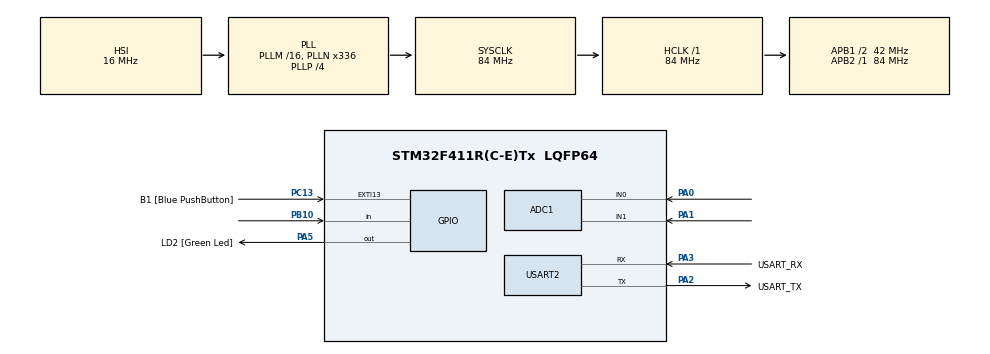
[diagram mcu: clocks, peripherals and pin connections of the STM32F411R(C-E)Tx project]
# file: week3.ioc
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ADC1.Channel-0\#ChannelRegularConversion=ADC_CHANNEL_0
ADC1.NbrOfConversionFlag=1
ADC1.Rank-0\#ChannelRegularConversion=1
ADC1.SamplingTime-0\#ChannelRegularConversion=ADC_SAMPLETIME_3CYCLES
ADC1.master=1
Mcu.Family=STM32F4
Mcu.Name=STM32F411R(C-E)Tx
Mcu.Package=LQFP64
NVIC.PriorityGroup=NVIC_PRIORITYGROUP_0
PA0-WKUP.Signal=ADCx_IN0
PA1.Signal=ADCx_IN1
PA13.GPIO_Label=TMS
PA13.Mode=Serial_Wire
PA13.Signal=SYS_JTMS-SWDIO
PA14.GPIO_Label=TCK
PA14.Mode=Serial_Wire
PA14.Signal=SYS_JTCK-SWCLK
PA2.GPIO_Label=USART_TX
PA2.Mode=Asynchronous
PA2.Signal=USART2_TX
PA3.GPIO_Label=USART_RX
PA3.Mode=Asynchronous
PA3.Signal=USART2_RX
PA5.GPIO_Label=LD2 [Green Led]
PA5.Signal=GPIO_Output
PB10.Signal=GPIO_Input
PB3.GPIO_Label=SWO
PB3.Signal=SYS_JTDO-SWO
PC13-ANTI_TAMP.GPIO_Label=B1 [Blue PushButton]
PC13-ANTI_TAMP.GPIO_ModeDefaultEXTI=GPIO_MODE_IT_FALLING
PC13-ANTI_TAMP.Signal=GPXTI13
PC14-OSC32_IN.Mode=LSE-External-Oscillator
PC14-OSC32_IN.Signal=RCC_OSC32_IN
PC15-OSC32_OUT.Mode=LSE-External-Oscillator
PC15-OSC32_OUT.Signal=RCC_OSC32_OUT
PH0\ -\ OSC_IN.Mode=HSE-External-Clock-Source
PH0\ -\ OSC_IN.Signal=RCC_OSC_IN
PH1\ -\ OSC_OUT.Mode=HSE-External-Clock-Source
PH1\ -\ OSC_OUT.Signal=RCC_OSC_OUT
ProjectManager.HeapSize=0x200
ProjectManager.StackSize=0x400
ProjectManager.TargetToolchain=STM32CubeIDE
RCC.48MHZClocksFreq_Value=84000000
RCC.AHBFreq_Value=84000000
RCC.APB1CLKDivider=RCC_HCLK_DIV2
RCC.APB1Freq_Value=42000000
RCC.APB1TimFreq_Value=84000000
RCC.APB2Freq_Value=84000000
RCC.APB2TimFreq_Value=84000000
RCC.CortexFreq_Value=84000000
RCC.FLatency-AdvancedSettings=FLASH_LATENCY_2
RCC.HCLKFreq_Value=84000000
RCC.HSE_VALUE=8000000
RCC.HSI_VALUE=16000000
RCC.PLLN=336
RCC.PLLP=RCC_PLLP_DIV4
RCC.SYSCLKFreq_VALUE=84000000
RCC.SYSCLKSource=RCC_SYSCLKSOURCE_PLLCLK
RCC.VCOOutputFreq_Value=336000000
SH.ADCx_IN0.0=ADC1_IN0,IN0
SH.ADCx_IN1.0=ADC1_IN1,IN1
USART2.VirtualMode=VM_ASYNC
VP_ADC1_TempSens_Input.Mode=IN-TempSens
board=NUCLEO-F411RE

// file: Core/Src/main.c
/* USER CODE BEGIN Header */
/**
  ******************************************************************************
  * @file           : main.c
  * @brief          : Main program body
  ******************************************************************************
  * @attention
  *
  * <h2><center>&copy; Copyright (c) 2021 STMicroelectronics.
  * All rights reserved.</center></h2>
  *
  * This software component is licensed by ST under BSD 3-Clause license,
  * the "License"; You may not use this file except in compliance with the
  * License. You may obtain a copy of the License at:
  *                        opensource.org/licenses/BSD-3-Clause
  *
  ******************************************************************************
  */
/* USER CODE END Header */
#include "main.h"

ADC_HandleTypeDef hadc1;

UART_HandleTypeDef huart2;

/* USER CODE BEGIN PV */

typedef struct
{
	ADC_ChannelConfTypeDef Config;
	uint32_t Data;
} ADCStructure;

ADCStructure ADCChannel[2] ={0};

/* USER CODE END PV */

void SystemClock_Config(void);
static void MX_GPIO_Init(void);
static void MX_USART2_UART_Init(void);
static void MX_ADC1_Init(void);
/* USER CODE BEGIN PFP */
void ADCPollingMethodInit(); //init config of 3 adc
void ADCPollingMethodUpdate(); //readADC from 3 source
int ADCMode = 0;
float GetData =0;
float ADCOutputConverted = 0;
float Vsense = 0;
uint32_t ButtonTimeStamp = 0;
GPIO_PinState SwitchState[2];
/* USER CODE END PFP */

int main(void)
{

  /* MCU Configuration--------------------------------------------------------*/

  /* Reset of all peripherals, Initializes the Flash interface and the Systick. */
  HAL_Init();

  /* Configure the system clock */
  SystemClock_Config();

  /* Initialize all configured peripherals */
  MX_GPIO_Init();
  MX_USART2_UART_Init();
  MX_ADC1_Init();
  /* USER CODE BEGIN 2 */
  ADCPollingMethodInit();
  /* USER CODE END 2 */

  /* Infinite loop */
  /* USER CODE BEGIN WHILE */

  while (1)
  {
	  ADCPollingMethodUpdate();
		if(HAL_GetTick() - ButtonTimeStamp >= 100)
			  {
				ButtonTimeStamp = HAL_GetTick();
			  	SwitchState[0] = HAL_GPIO_ReadPin(GPIOB, GPIO_PIN_10);
			  	if(SwitchState[1]== GPIO_PIN_SET && SwitchState[0]== GPIO_PIN_RESET)
			  	{//On_off
			  		if(ADCMode == 0)
			  		{
			  			ADCMode = 1;
			  		}
			  		else
			  		{
			  			ADCMode = 0;
			  		}
			  	}
			  	  SwitchState[1] = SwitchState[0];
			  }

		if(ADCMode == 0)
		{
			GetData = ADCChannel[0].Data;
			ADCOutputConverted = 3300*GetData/4096;
				  //3.3*(ADCChannel[0].Data/4096)
		}
		else
		{
			GetData = ADCChannel[1].Data;
			Vsense = 3300*GetData/4096;
			ADCOutputConverted = ((Vsense-760)/2.5)+25;
		}

    /* USER CODE END WHILE */

  }
}

void SystemClock_Config(void)
{
  RCC_OscInitTypeDef RCC_OscInitStruct = {0};
  RCC_ClkInitTypeDef RCC_ClkInitStruct = {0};

  /** Configure the main internal regulator output voltage
  */
  __HAL_RCC_PWR_CLK_ENABLE();
  __HAL_PWR_VOLTAGESCALING_CONFIG(PWR_REGULATOR_VOLTAGE_SCALE1);
  /** Initializes the RCC Oscillators according to the specified parameters
  * in the RCC_OscInitTypeDef structure.
  */
  RCC_OscInitStruct.OscillatorType = RCC_OSCILLATORTYPE_HSI;
  RCC_OscInitStruct.HSIState = RCC_HSI_ON;
  RCC_OscInitStruct.HSICalibrationValue = RCC_HSICALIBRATION_DEFAULT;
  RCC_OscInitStruct.PLL.PLLState = RCC_PLL_ON;
  RCC_OscInitStruct.PLL.PLLSource = RCC_PLLSOURCE_HSI;
  RCC_OscInitStruct.PLL.PLLM = 16;
  RCC_OscInitStruct.PLL.PLLN = 336;
  RCC_OscInitStruct.PLL.PLLP = RCC_PLLP_DIV4;
  RCC_OscInitStruct.PLL.PLLQ = 4;
  if (HAL_RCC_OscConfig(&RCC_OscInitStruct) != HAL_OK)
  {
    Error_Handler();
  }
  /** Initializes the CPU, AHB and APB buses clocks
  */
  RCC_ClkInitStruct.ClockType = RCC_CLOCKTYPE_HCLK|RCC_CLOCKTYPE_SYSCLK
                              |RCC_CLOCKTYPE_PCLK1|RCC_CLOCKTYPE_PCLK2;
  RCC_ClkInitStruct.SYSCLKSource = RCC_SYSCLKSOURCE_PLLCLK;
  RCC_ClkInitStruct.AHBCLKDivider = RCC_SYSCLK_DIV1;
  RCC_ClkInitStruct.APB1CLKDivider = RCC_HCLK_DIV2;
  RCC_ClkInitStruct.APB2CLKDivider = RCC_HCLK_DIV1;

  if (HAL_RCC_ClockConfig(&RCC_ClkInitStruct, FLASH_LATENCY_2) != HAL_OK)
  {
    Error_Handler();
  }
}

static void MX_ADC1_Init(void)
{

  ADC_ChannelConfTypeDef sConfig = {0};

  /** Configure the global features of the ADC (Clock, Resolution, Data Alignment and number of conversion)
  */
  hadc1.Instance = ADC1;
  hadc1.Init.ClockPrescaler = ADC_CLOCK_SYNC_PCLK_DIV4;
  hadc1.Init.Resolution = ADC_RESOLUTION_12B;
  hadc1.Init.ScanConvMode = DISABLE;
  hadc1.Init.ContinuousConvMode = DISABLE;
  hadc1.Init.DiscontinuousConvMode = DISABLE;
  hadc1.Init.ExternalTrigConvEdge = ADC_EXTERNALTRIGCONVEDGE_NONE;
  hadc1.Init.ExternalTrigConv = ADC_SOFTWARE_START;
  hadc1.Init.DataAlign = ADC_DATAALIGN_RIGHT;
  hadc1.Init.NbrOfConversion = 1;
  hadc1.Init.DMAContinuousRequests = DISABLE;
  hadc1.Init.EOCSelection = ADC_EOC_SINGLE_CONV;
  if (HAL_ADC_Init(&hadc1) != HAL_OK)
  {
    Error_Handler();
  }
  /** Configure for the selected ADC regular channel its corresponding rank in the sequencer and its sample time.
  */
  sConfig.Channel = ADC_CHANNEL_0;
  sConfig.Rank = 1;
  sConfig.SamplingTime = ADC_SAMPLETIME_3CYCLES;
  if (HAL_ADC_ConfigChannel(&hadc1, &sConfig) != HAL_OK)
  {
    Error_Handler();
  }

}

static void MX_USART2_UART_Init(void)
{

  huart2.Instance = USART2;
  huart2.Init.BaudRate = 115200;
  huart2.Init.WordLength = UART_WORDLENGTH_8B;
  huart2.Init.StopBits = UART_STOPBITS_1;
  huart2.Init.Parity = UART_PARITY_NONE;
  huart2.Init.Mode = UART_MODE_TX_RX;
  huart2.Init.HwFlowCtl = UART_HWCONTROL_NONE;
  huart2.Init.OverSampling = UART_OVERSAMPLING_16;
  if (HAL_UART_Init(&huart2) != HAL_OK)
  {
    Error_Handler();
  }

}

static void MX_GPIO_Init(void)
{
  GPIO_InitTypeDef GPIO_InitStruct = {0};

  /* GPIO Ports Clock Enable */
  __HAL_RCC_GPIOC_CLK_ENABLE();
  __HAL_RCC_GPIOH_CLK_ENABLE();
  __HAL_RCC_GPIOA_CLK_ENABLE();
  __HAL_RCC_GPIOB_CLK_ENABLE();

  /*Configure GPIO pin Output Level */
  HAL_GPIO_WritePin(LD2_GPIO_Port, LD2_Pin, GPIO_PIN_RESET);

  /*Configure GPIO pin : B1_Pin */
  GPIO_InitStruct.Pin = B1_Pin;
  GPIO_InitStruct.Mode = GPIO_MODE_IT_FALLING;
  GPIO_InitStruct.Pull = GPIO_NOPULL;
  HAL_GPIO_Init(B1_GPIO_Port, &GPIO_InitStruct);

  /*Configure GPIO pin : LD2_Pin */
  GPIO_InitStruct.Pin = LD2_Pin;
  GPIO_InitStruct.Mode = GPIO_MODE_OUTPUT_PP;
  GPIO_InitStruct.Pull = GPIO_NOPULL;
  GPIO_InitStruct.Speed = GPIO_SPEED_FREQ_LOW;
  HAL_GPIO_Init(LD2_GPIO_Port, &GPIO_InitStruct);

  /*Configure GPIO pin : PB10 */
  GPIO_InitStruct.Pin = GPIO_PIN_10;
  GPIO_InitStruct.Mode = GPIO_MODE_INPUT;
  GPIO_InitStruct.Pull = GPIO_NOPULL;
  HAL_GPIO_Init(GPIOB, &GPIO_InitStruct);

}

/* USER CODE BEGIN 4 */

void ADCPollingMethodInit(){
	ADCChannel[0].Config.Channel = ADC_CHANNEL_0;
	ADCChannel[0].Config.Rank = 1;
	ADCChannel[0].Config.SamplingTime = ADC_SAMPLETIME_3CYCLES;

	ADCChannel[1].Config.Channel = ADC_CHANNEL_TEMPSENSOR;
	ADCChannel[1].Config.Rank = 1;
	ADCChannel[1].Config.SamplingTime = ADC_SAMPLETIME_3CYCLES;
}
void ADCPollingMethodUpdate()
{
	for(int i=0; i<2;i++)
	{
	//select channel
	HAL_ADC_ConfigChannel(&hadc1, &ADCChannel[i].Config);
	//ADC Sampling , Convert
	HAL_ADC_Start(&hadc1);
	//Wait ADC
	if(HAL_ADC_PollForConversion(&hadc1, 10) == HAL_OK)
	{
		//Get Value
		ADCChannel[i].Data = HAL_ADC_GetValue(&hadc1);
	}

	//Stop
		HAL_ADC_Stop(&hadc1);
	}

}

/* USER CODE END 4 */

void Error_Handler(void)
{
  __disable_irq();
  while (1)
  {
  }
}

/************************ (C) COPYRIGHT STMicroelectronics *****END OF FILE****/
